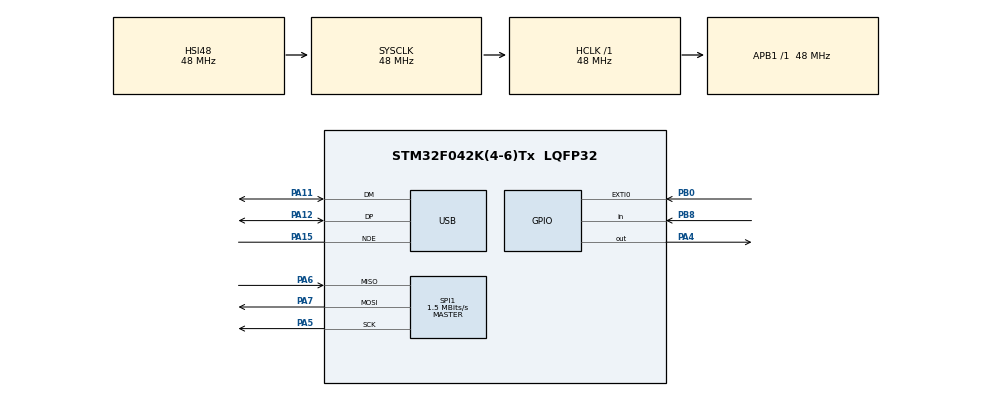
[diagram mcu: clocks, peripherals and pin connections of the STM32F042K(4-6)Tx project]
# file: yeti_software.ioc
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Mcu.Family=STM32F0
Mcu.Name=STM32F042K(4-6)Tx
Mcu.Package=LQFP32
NVIC.TIM14_IRQn=true\:0\:0\:false\:false\:true\:true\:true
NVIC.USB_IRQn=true\:0\:0\:false\:false\:true\:false\:true
PA11.Mode=Device
PA11.Signal=USB_DM
PA12.Mode=Device
PA12.Signal=USB_DP
PA13.Mode=Serial_Wire
PA13.Signal=SYS_SWDIO
PA14.Mode=Serial_Wire
PA14.Signal=SYS_SWCLK
PA15.Mode=Activate_NOE
PA15.Signal=USB_NOE
PA4.Signal=GPIO_Output
PA5.Mode=Full_Duplex_Master
PA5.Signal=SPI1_SCK
PA6.Mode=Full_Duplex_Master
PA6.Signal=SPI1_MISO
PA7.Mode=Full_Duplex_Master
PA7.Signal=SPI1_MOSI
PB0.Signal=GPXTI0
PB8.Signal=GPIO_Input
PF0-OSC_IN.Mode=HSE-External-Clock-Source
PF0-OSC_IN.Signal=RCC_OSC_IN
ProjectManager.HeapSize=0x200
ProjectManager.StackSize=0x400
ProjectManager.TargetToolchain=Makefile
RCC.AHBFreq_Value=48000000
RCC.APB1Freq_Value=48000000
RCC.APB1TimFreq_Value=48000000
RCC.HCLKFreq_Value=48000000
RCC.HSE_VALUE=20000000
RCC.PLLDivider=RCC_PREDIV_DIV5
RCC.PLLMUL=RCC_PLL_MUL12
RCC.SYSCLKFreq_VALUE=48000000
RCC.SYSCLKSource=RCC_SYSCLKSOURCE_HSI48
RCC.USBClockSelection=RCC_USBCLKSOURCE_PLL
RCC.USBFreq_Value=48000000
SPI1.BaudRatePrescaler=SPI_BAUDRATEPRESCALER_32
SPI1.CalculateBaudRate=1.5 MBits/s
SPI1.DataSize=SPI_DATASIZE_8BIT
SPI1.Direction=SPI_DIRECTION_2LINES
SPI1.Mode=SPI_MODE_MASTER
SPI1.NSSPMode=SPI_NSS_PULSE_DISABLE
SPI1.TIMode=SPI_TIMODE_DISABLE
SPI1.VirtualType=VM_MASTER
TIM14.AutoReloadPreload=TIM_AUTORELOAD_PRELOAD_ENABLE
TIM14.Period=40000
TIM14.Prescaler=500
USB_DEVICE.APP_RX_DATA_SIZE=512
USB_DEVICE.APP_TX_DATA_SIZE=512
USB_DEVICE.CLASS_NAME_FS=CDC
USB_DEVICE.INTERFACE_STRING_CDC_FS=CDC Interface
USB_DEVICE.MANUFACTURER_STRING=Revolve NTNU
USB_DEVICE.PID_CDC_FS=0x5760
USB_DEVICE.PRODUCT_STRING_CDC_FS=YetiCAN-FD
USB_DEVICE.USBD_DEBUG_LEVEL=0
USB_DEVICE.USBD_MAX_STR_DESC_SIZ=256
USB_DEVICE.USBD_SELF_POWERED=1
USB_DEVICE.VID=0x5740
USB_DEVICE.VirtualMode=Cdc
USB_DEVICE.VirtualModeFS=Cdc_FS
VP_CRC_VS_CRC.Mode=CRC_Activate
VP_TIM14_VS_ClockSourceINT.Mode=Enable_Timer
VP_TIM2_VS_ClockSourceINT.Mode=Internal
VP_USB_DEVICE_VS_USB_DEVICE_CDC_FS.Mode=CDC_FS
board=custom

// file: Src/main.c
#include "main.h"
#include "crc.h"
#include "spi.h"
#include "tim.h"
#include "usb_device.h"
#include "gpio.h"

/* USER CODE BEGIN Includes */
#include <stdint.h>
#include "mcp_can_controller.h"
#include "packet.h"

/* USER CODE END Includes */

/* USER CODE BEGIN PV */
MCP_MasterConfig g_mcp_master_config = {
    .nominal_bit_rate_seg1 = 31,
    .nominal_bit_rate_seg2 = 9,

    .data_bit_rate_seg1 = 31,
    .data_bit_rate_seg2 = 9,

    .transmit_event_config = {
        .message_depth = 2,
        .use_timestamp = 1
    },

    .transmit_queue_config = {
        .payload_size = MCP_PAYLOAD_64_BYTES,
        .message_depth = 2
    },

    .receive_fifo_config = {
        {
            .payload_size = MCP_PAYLOAD_64_BYTES,
            .message_depth = 6,
            .use_timestamp = 1
        }
    },

    .filter_config = {
        {
            .use_filter = 1,
            .fifo_destination = 1,
            .frame_type = MCP_FILTER_ACCEPT_ANY,
            .filter_mask = 0,
            .filter_object = 0
        }
    }
};

/* USER CODE END PV */

int main(){
    HAL_Init();

    SystemClock_Config();

    MX_GPIO_Init();
    MX_SPI1_Init();
    MX_TIM2_Init();
    MX_CRC_Init();
    MX_TIM14_Init();

    mcp_init(&g_mcp_master_config);

    MX_USB_DEVICE_Init();

    mcp_gpio_latch();
    mcp_gpio_unlatch();

    while (1)
    {
        MCP_Message receive_object;

        uint8_t fifo_empty = 0;

        fifo_empty = mcp_receive(&receive_object, 1);
        if(!fifo_empty){
            packet_message_to_host(&receive_object);

            free(receive_object.p_data);
        }

        HAL_Delay(5);
    }
  /* USER CODE END 3 */
}

void SystemClock_Config(void)
{
  RCC_OscInitTypeDef RCC_OscInitStruct = {0};
  RCC_ClkInitTypeDef RCC_ClkInitStruct = {0};
  RCC_PeriphCLKInitTypeDef PeriphClkInit = {0};

  /** Initializes the CPU, AHB and APB busses clocks
  */
  RCC_OscInitStruct.OscillatorType = RCC_OSCILLATORTYPE_HSI48|RCC_OSCILLATORTYPE_HSE;
  RCC_OscInitStruct.HSEState = RCC_HSE_BYPASS;
  RCC_OscInitStruct.HSI48State = RCC_HSI48_ON;
  RCC_OscInitStruct.PLL.PLLState = RCC_PLL_ON;
  RCC_OscInitStruct.PLL.PLLSource = RCC_PLLSOURCE_HSE;
  RCC_OscInitStruct.PLL.PLLMUL = RCC_PLL_MUL12;
  RCC_OscInitStruct.PLL.PREDIV = RCC_PREDIV_DIV5;
  if (HAL_RCC_OscConfig(&RCC_OscInitStruct) != HAL_OK)
  {
    Error_Handler();
  }
  /** Initializes the CPU, AHB and APB busses clocks
  */
  RCC_ClkInitStruct.ClockType = RCC_CLOCKTYPE_HCLK|RCC_CLOCKTYPE_SYSCLK
                              |RCC_CLOCKTYPE_PCLK1;
  RCC_ClkInitStruct.SYSCLKSource = RCC_SYSCLKSOURCE_HSI48;
  RCC_ClkInitStruct.AHBCLKDivider = RCC_SYSCLK_DIV1;
  RCC_ClkInitStruct.APB1CLKDivider = RCC_HCLK_DIV1;

  if (HAL_RCC_ClockConfig(&RCC_ClkInitStruct, FLASH_LATENCY_1) != HAL_OK)
  {
    Error_Handler();
  }
  PeriphClkInit.PeriphClockSelection = RCC_PERIPHCLK_USB;
  PeriphClkInit.UsbClockSelection = RCC_USBCLKSOURCE_PLL;

  if (HAL_RCCEx_PeriphCLKConfig(&PeriphClkInit) != HAL_OK)
  {
    Error_Handler();
  }
}

void Error_Handler(void)
{
}
